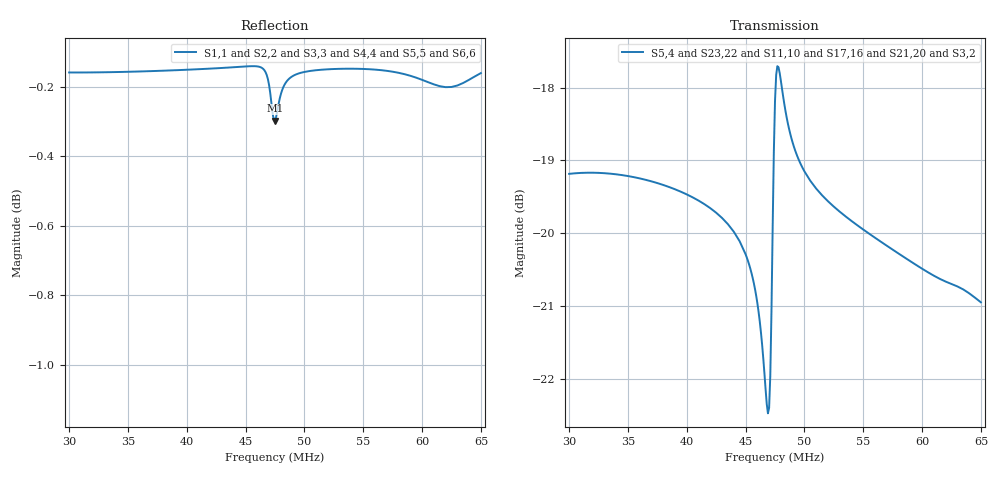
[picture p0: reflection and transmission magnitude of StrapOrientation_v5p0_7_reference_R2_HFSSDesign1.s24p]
! Touchstone file exported from HFSS 2019.2.0
!  File:  /home/fdurodie/Ansoft/2020-03-10 StrapOrientation/Reference/v5p0/v5p0_7/Vac_D=100/StrapOrientation_v5p0_7_reference_R2.aedt
!  Generated:  7:45:35 PM  Apr 19, 2020
!  Design:  HFSSDesign1
!  Project:  StrapOrientation_v5p0_7_reference_R2
!  Setup:  Single_65_MHz
!  Solution:  Sweep
! Variables:
!  BoxH = 285mm
!  BoxW = 315mm
!  FS_Strap_D = 10mm
!  FS_bar_E = 20mm
!  FS_bar_H = 32mm
!  FS_bar_L = 772mm
!  FS_bar_R = 5mm
!  FS_bar_S = 31mm
!  FS_bar_T = 21mm
!  FS_bar_overW = 27mm
!  FS_sup_D = 15mm
!  FS_sup_D2 = 10mm
!  FS_sup_D3 = 81mm
!  FS_sup_L = 131mm
!  FS_sup_W = 23mm
!  FS_sup_W2 = 9mm
!  Feeder_Deembed = Feeder_L-Loft_RR
!  Feeder_GW = 25mm
!  Feeder_H = 250mm
!  Feeder_L = 200mm
!  Feeder_W = 265mm
!  Loft_L = 100mm
!  Loft_RR = 50mm
!  Man_D = 31mm
!  Man_DX = 103.5mm
!  Man_D_center = 78mm
!  Man_Lbot = 282.082968380668mm
!  Man_Lmid = 200mm
!  Man_Ltop = 314.829858864228mm
!  Man_W = 60mm
!  Plasma_D = 200mm
!  PlugGap_S1_H = 2071mm
!  PlugGap_S1_L = 502mm
!  PlugGap_S1_W = 1620mm
!  PlugGap_S1_X0 = 100mm
!  PlugGap_S2_H = 2200mm
!  PlugGap_S2_L = 95mm
!  PlugGap_S2_W = 1748mm
!  PlugGap_S3_H = 2131mm
!  PlugGap_S3_L = 390mm
!  PlugGap_S3_W = 1684mm
!  PlugGap_S4_H = 2200mm
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# GHZ S MA
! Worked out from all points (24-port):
!   111 points, 30 MHz to 65 MHz, reference per port
!   strongest paths, dB at 30 MHz, 43.5 MHz, 47.5 MHz, 51.5 MHz, 65 MHz:
!     S5,4: -19.2, -19.9, -18.2, -19.5, -20.9
!     S23,22: -19.2, -19.9, -18.2, -19.5, -20.9
!     S11,10: -19.2, -19.9, -18.4, -19.6, -21.0
!     S17,16: -19.2, -19.9, -18.4, -19.6, -21.0
!     S21,20: -19.3, -20.0, -18.3, -19.6, -21.1
!     S3,2: -19.3, -20.0, -18.4, -19.6, -21.1
!   lowest |S11| = -0.3 dB at 47.5 MHz (marker M1), VSWR 58.33
!   |S11| at or under -10 dB: nowhere
